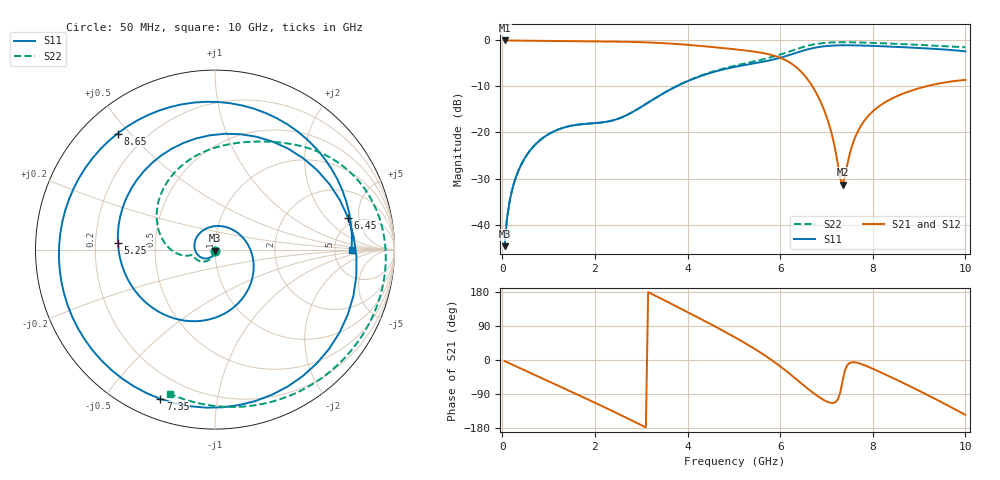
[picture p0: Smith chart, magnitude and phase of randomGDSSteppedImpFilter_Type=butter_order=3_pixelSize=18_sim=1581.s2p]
! freq	dB(S11)	phase(S11)	dB(S12)	phase(S12)
!  dB(S21)	phase(S21)	dB(S22)	phase(S22)
!S-par simulation data
#  GHz  S  DB  R 50
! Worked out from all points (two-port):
!   200 points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, 50 MHz to 10 GHz, reference 50 ohm
!   highest |S21| = -0.01 dB at 50 MHz (marker M1); lowest = -31.3 dB at 7.35 GHz (marker M2)
!   |S21| within 3 dB of the highest: start of sweep to 5.752 GHz
!   lowest |S11| = -44.7 dB at 50 MHz (marker M3), VSWR 1.01, Z = 50 - j0.582 ohm
!   |S11| at or under -10 dB: start of sweep to 3.756 GHz
!   |S22| runs from -44.7 to -0.4 dB; largest |S21 - S12| = 0
!   S11 on the Smith chart (normalised r, x): 50 MHz: 1.00, -0.01; 5.25 GHz: 0.30, +0.03; 6.45 GHz: 4.28, +3.61; 7.35 GHz: 0.09, -0.69; 8.65 GHz: 0.10, +0.46; 10 GHz: 7.36, -0.10
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0.05  -44.70 -90.3  -0.01 -2.9  -0.01 -2.9  -44.68 -89.3
0.2  -32.98 -102.4  -0.02 -11.3  -0.02 -11.3  -32.96 -98.7
0.5  -25.35 -123.3  -0.05 -28.2  -0.05 -28.2  -25.33 -113.6
1.15  -19.59 -169.0  -0.13 -64.6  -0.13 -64.6  -19.58 -141.9
1.75  -18.16 141.8  -0.18 -98.5  -0.18 -98.5  -18.17 -160.6
2.65  -16.40 43.8  -0.29 -150.7  -0.29 -150.7  -16.41 -167.2
3.4  -11.96 -32.6  -0.55 163.8  -0.55 163.8  -11.94 178.5
4.25  -7.87 -101.0  -1.17 110.5  -1.17 110.5  -7.77 140.8
5.05  -5.69 -165.5  -1.95 58.1  -1.95 58.1  -5.42 100.7
5.25  -5.31 175.9  -2.19 44.1  -2.19 44.1  -4.97 91.1
5.65  -4.59 132.4  -2.79 13.7  -2.79 13.7  -4.06 73.1
6  -3.77 85.0  -3.76 -16.6  -3.76 -16.6  -3.07 58.0
6.2  -3.17 54.0  -4.75 -35.8  -4.75 -35.8  -2.40 48.9
6.45  -2.36 13.4  -6.77 -61.0  -6.77 -61.0  -1.56 36.1
6.7  -1.68 -26.2  -10.04 -85.6  -10.04 -85.6  -0.92 22.2
7  -1.22 -68.6  -16.51 -109.2  -16.51 -109.2  -0.51 5.5
7.35  -1.06 -110.1  -31.31 -53.9  -31.31 -53.9  -0.39 -12.4
7.7  -1.09 -145.3  -19.32 -8.6  -19.32 -8.6  -0.44 -28.2
8.35  -1.33 156.5  -12.95 -42.7  -12.95 -42.7  -0.67 -53.6
8.65  -1.47 130.0  -11.57 -60.2  -11.57 -60.2  -0.80 -64.2
9.3  -1.81 69.7  -9.62 -99.6  -9.62 -99.6  -1.12 -85.4
10  -2.37 -0.2  -8.58 -144.7  -8.58 -144.7  -1.50 -107.2
